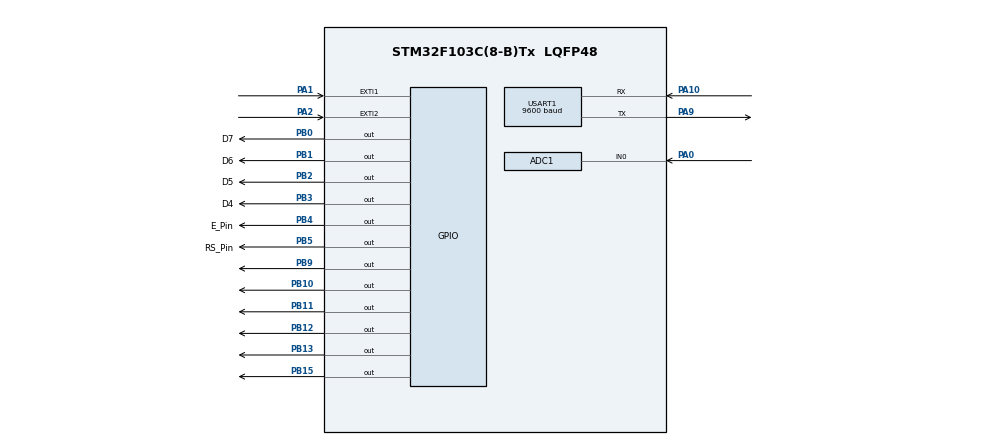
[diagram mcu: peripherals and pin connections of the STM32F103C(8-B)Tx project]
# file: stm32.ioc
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ADC1.Channel-3\#ChannelRegularConversion=ADC_CHANNEL_0
ADC1.ContinuousConvMode=ENABLE
ADC1.NbrOfConversionFlag=1
ADC1.Rank-3\#ChannelRegularConversion=1
ADC1.SamplingTime-3\#ChannelRegularConversion=ADC_SAMPLETIME_1CYCLE_5
ADC1.master=1
Mcu.Family=STM32F1
Mcu.Name=STM32F103C(8-B)Tx
Mcu.Package=LQFP48
NVIC.EXTI1_IRQn=true\:0\:0\:false\:false\:true\:true\:true\:true
NVIC.EXTI2_IRQn=true\:0\:0\:false\:false\:true\:true\:true\:true
NVIC.PriorityGroup=NVIC_PRIORITYGROUP_4
NVIC.TIM2_IRQn=true\:0\:0\:false\:false\:true\:true\:true\:true
NVIC.USART1_IRQn=true\:0\:0\:false\:false\:true\:true\:true\:true
PA0-WKUP.Signal=ADCx_IN0
PA1.Signal=GPXTI1
PA10.Mode=Asynchronous
PA10.Signal=USART1_RX
PA2.Signal=GPXTI2
PA9.Mode=Asynchronous
PA9.Signal=USART1_TX
PB0.GPIO_Label=D7
PB0.Signal=GPIO_Output
PB1.GPIO_Label=D6
PB1.Signal=GPIO_Output
PB10.Signal=GPIO_Output
PB11.Signal=GPIO_Output
PB12.Signal=GPIO_Output
PB13.Signal=GPIO_Output
PB15.Signal=GPIO_Output
PB2.GPIO_Label=D5
PB2.Signal=GPIO_Output
PB3.GPIO_Label=D4
PB3.Signal=GPIO_Output
PB4.GPIO_Label=E_Pin
PB4.Signal=GPIO_Output
PB5.GPIO_Label=RS_Pin
PB5.Signal=GPIO_Output
PB9.Signal=GPIO_Output
ProjectManager.HeapSize=0x200
ProjectManager.StackSize=0x400
ProjectManager.TargetToolchain=STM32CubeIDE
RCC.APB1Freq_Value=8000000
RCC.APB2Freq_Value=8000000
SH.ADCx_IN0.0=ADC1_IN0,IN0
TIM2.AutoReloadPreload=TIM_AUTORELOAD_PRELOAD_ENABLE
TIM2.Period=0
TIM2.Prescaler=8000
USART1.BaudRate=9600
USART1.VirtualMode=VM_ASYNC
VP_SYS_VS_ND.Mode=No_Debug
VP_TIM2_VS_ClockSourceINT.Mode=Internal
board=custom

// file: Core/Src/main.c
/* USER CODE BEGIN Header */
/**
  ******************************************************************************
  * @file           : main.c
  * @brief          : Main program body
  ******************************************************************************
  * @attention
  *
  * Copyright (c) 2024 STMicroelectronics.
  * All rights reserved.
  *
  * This software is licensed under terms that can be found in the LICENSE file
  * in the root directory of this software component.
  * If no LICENSE file comes with this software, it is provided AS-IS.
  *
  ******************************************************************************
  */
/* USER CODE END Header */
#include "main.h"

/* USER CODE BEGIN Includes */
#include "string.h"
#include "stdio.h"
//khai bao chan cam
#define LCD_RS_Pin 		GPIOB,GPIO_PIN_5
#define LCD_E_Pin 		GPIOB,GPIO_PIN_4
#define LCD_D4_Pin 		GPIOB,GPIO_PIN_3
#define LCD_D5_Pin 		GPIOB,GPIO_PIN_2
#define LCD_D6_Pin 		GPIOB,GPIO_PIN_1
#define LCD_D7_Pin 		GPIOB,GPIO_PIN_0

#define LCD_Set_Pin(LCD_Pin) 			HAL_GPIO_WritePin(LCD_Pin,GPIO_PIN_SET)
#define LCD_Reset_Pin(LCD_Pin) 			HAL_GPIO_WritePin(LCD_Pin,GPIO_PIN_RESET)
#define LCD_Write_Pin(LCD_Pin,value) 		HAL_GPIO_WritePin(LCD_Pin,value)
#define LCD_Delay_ms(time)				HAL_Delay(time)
#define LCD_GetBit(value,bit)			((value>>bit) & 1)

#define LCD_Send_cmd(Value)				LCD_Write_8bit(Value,0)
#define LCD_Send_cmd_4bit(Value)		LCD_Write_4bit(Value,0)
#define LCD_Send_data(Value)			LCD_Write_8bit(Value,1)
#define LCD_SetCursor(row,col)			LCD_Send_cmd(0x80+(row*64)+col)
#define LCD_clear()						LCD_Write_8bit(0x01,0)
// Ham gui du lieu 4-bit toi LCD
void LCD_Write_4bit(uint8_t value, uint8_t cmd_data) {
	LCD_Write_Pin(LCD_RS_Pin, cmd_data); // Xac dinh la lenh (0) hay du lieu(1)
	LCD_Set_Pin(LCD_E_Pin);//Kich hoat chan E
	LCD_Delay_ms(1);
	//Gui tung bit toi cac chan D4-D7
	LCD_Write_Pin(LCD_D4_Pin, LCD_GetBit(value,0));
	LCD_Write_Pin(LCD_D5_Pin, LCD_GetBit(value,1));
	LCD_Write_Pin(LCD_D6_Pin, LCD_GetBit(value,2));
	LCD_Write_Pin(LCD_D7_Pin, LCD_GetBit(value,3));
	LCD_Delay_ms(1);
	LCD_Reset_Pin(LCD_E_Pin);//Tat chan E
	LCD_Delay_ms(1);
}
// ham gui du lieu 8-bit toi LCD
void LCD_Write_8bit(uint8_t value, uint8_t cmd_data) {
	LCD_Write_4bit((value >> 4) & 0x0F, cmd_data);//Gui 4-bit cao
	LCD_Write_4bit(value & 0x0F, cmd_data);//Gui 4-bit thap
}

void LCD_Send_string(char *ptr) {
	int i;
	int len;
	len = strlen(ptr); // tinh do dai chuoi
	for (i = 0; i < len; i++) {
		LCD_Write_8bit(ptr[i], 1); // gui tung ky tu len LCD
	}
}
void LCD_init() {
	LCD_Send_cmd_4bit(0x03); //Che do khoi tao LCD
	LCD_Delay_ms(5);
	LCD_Send_cmd_4bit(0x03);
	LCD_Delay_ms(1);
	LCD_Send_cmd_4bit(0x03);
	LCD_Delay_ms(1);
	LCD_Send_cmd_4bit(0x02); // Chuyen ve che do 4-bit
	LCD_Delay_ms(1);
	LCD_Send_cmd(0x28); //4-bit, 2 dong, fort 5x8
	LCD_Delay_ms(1);
	LCD_Send_cmd(0x0C); //Bat hien thi, tat con tro
	LCD_Delay_ms(1);
}
uint32_t adc_val; // Gia tri doc tu ADC
char temp_str[16]; // CHuoi hien thi nhiet do
/* USER CODE END Includes */

ADC_HandleTypeDef hadc1;

TIM_HandleTypeDef htim2;

UART_HandleTypeDef huart1;

/* USER CODE BEGIN PV */
int a = 2;
int b = 3;

    //HAL_UART_Transmit(&huart1, (uint8_t *)str, strlen(str), HAL_MAX_DELAY);

uint32_t Read_ADC_Value(void) {
    uint32_t adcValue = 0;
    HAL_ADC_Start(&hadc1); // Start Chuyen doi ADC
    if (HAL_ADC_PollForConversion(&hadc1, HAL_MAX_DELAY) == HAL_OK) {
        adcValue = HAL_ADC_GetValue(&hadc1); // Lay gia trị ADC
    }
    HAL_ADC_Stop(&hadc1); // Stop ADC
    return adcValue;
}

/* USER CODE END PV */

void SystemClock_Config(void);
static void MX_GPIO_Init(void);
static void MX_ADC1_Init(void);
static void MX_USART1_UART_Init(void);
static void MX_TIM2_Init(void);

/* USER CODE BEGIN 0 */
void HAL_GPIO_EXTI_Callback(uint16_t GPIO_Pin) { //Ham ngat ngoai
	if ( GPIO_Pin == GPIO_PIN_1) { // Nut Start de hoat dong STM32
		 a = 1;
	} else if ( GPIO_Pin == GPIO_PIN_2) { // Nut Stop de Ngat hoat dong STM32
		a = 0;
	}
}

void HAL_TIM_PeriodElapsedCallback(TIM_HandleTypeDef *htim) { // Ham timer
	if ( a == 1) { // start thi den Pin_13 se nhay theo
	UNUSED(htim);
	HAL_GPIO_TogglePin(GPIOB, GPIO_PIN_13);
	}
}

/* USER CODE END 0 */

int main(void)
{

  /* MCU Configuration--------------------------------------------------------*/

  /* Reset of all peripherals, Initializes the Flash interface and the Systick. */
  HAL_Init();

  /* Configure the system clock */
  SystemClock_Config();

  /* Initialize all configured peripherals */
  MX_GPIO_Init();
  MX_ADC1_Init();
  MX_USART1_UART_Init();
  MX_TIM2_Init();
  /* USER CODE BEGIN 2 */
  LCD_init();

  char uartBuf[50];    // Bộ đệm để lưu dữ liệu gửi qua UART
     uint32_t adcValue = 0; // Luu gia tri doc tu ADC
     float voltage = 0.0; // Luu gia tri dien ap
     float temperature = 0.0; // Luu gia tri nhiet do
     HAL_TIM_Base_Start_IT(&htim2); // Start tim2 va Mode ngat
     LCD_init(); //Khoi tao man hinh LCD
     char rx_data; // Luu du lieu nhan tu UART

  /* USER CODE END 2 */

  /* Infinite loop */
  /* USER CODE BEGIN WHILE */
  while (1)
  {
	  if (HAL_UART_Receive(&huart1, (uint8_t*)&rx_data, 1, 1000) == HAL_OK) {
	     		if ( rx_data == '8') { // Start Giao dien
	     			a = 1;
	     		} else if ( rx_data == '9') { //Stop Giao dien
	     			a = 0;
	     		} else if ( rx_data == '0') {
	     			__HAL_TIM_SET_AUTORELOAD(&htim2,499);
	     			__HAL_TIM_SET_COUNTER(&htim2,0);
	     		} else if ( rx_data == '1') {
	     			__HAL_TIM_SET_AUTORELOAD(&htim2,999);
	     			__HAL_TIM_SET_COUNTER(&htim2,0);
	     	} else if ( rx_data == '2') {
     			__HAL_TIM_SET_AUTORELOAD(&htim2,1999);
     			__HAL_TIM_SET_COUNTER(&htim2,0);
	     	}
	  }
	  if ( a == 1 || b == 4) { // Neu gia trị a==1 thi se thoai man dieu kien va kich hoạc trong ngoặc
	  adcValue = Read_ADC_Value(); // doc giá trị ADC
	        voltage = (adcValue * 3.3) / 4095.0; //Dien tu ADC
	        temperature = voltage * 100;        //Nhiet do tu LM35

	        sprintf(uartBuf, "%.2f\r\n", temperature);// dinh dang chuoi nhiet do de hien thi va gui qua UART
	        HAL_UART_Transmit(&huart1, (uint8_t*)uartBuf, strlen(uartBuf),1000);//Gui chuoi qua UART1
	        //Dinh dang chuoi nhiet do cho LCD
	        char lcdBuf[16];
	        sprintf(lcdBuf, "Nhiet Do: %.2f", temperature);
	        LCD_SetCursor(0, 0);
	        LCD_Send_string(lcdBuf);
	        HAL_Delay(1000);
	        if (temperature > 16.0 && temperature < 32.0) { // < 20% (80°C * 0.2)
	            HAL_GPIO_WritePin(GPIOB, GPIO_PIN_9, GPIO_PIN_SET);  // Chỉ PB9 sáng
	            HAL_GPIO_WritePin(GPIOB, GPIO_PIN_10, GPIO_PIN_RESET);
	            HAL_GPIO_WritePin(GPIOB, GPIO_PIN_11, GPIO_PIN_RESET);
	            HAL_GPIO_WritePin(GPIOB, GPIO_PIN_12, GPIO_PIN_RESET);
	            HAL_GPIO_WritePin(GPIOB, GPIO_PIN_15, GPIO_PIN_RESET);
	            LCD_clear();
	            LCD_SetCursor(0,0);
	            LCD_Send_string("Nhiet do tot");
	        } else if (temperature > 32.0 && temperature < 48.0 ) { // 20-40% (80°C * 0.4)
	            HAL_GPIO_WritePin(GPIOB, GPIO_PIN_9, GPIO_PIN_SET);
	            HAL_GPIO_WritePin(GPIOB, GPIO_PIN_10, GPIO_PIN_SET); // PB9, PB10 sáng
	            HAL_GPIO_WritePin(GPIOB, GPIO_PIN_11, GPIO_PIN_RESET);
	            HAL_GPIO_WritePin(GPIOB, GPIO_PIN_12, GPIO_PIN_RESET);
	            HAL_GPIO_WritePin(GPIOB, GPIO_PIN_15, GPIO_PIN_RESET);
	            LCD_clear();
	            LCD_SetCursor(0,0);
	            LCD_Send_string("Nhiet do kha on");
	        } else if (temperature > 48.0 && temperature < 64.0) { // 40-60% (80°C * 0.6)
	            HAL_GPIO_WritePin(GPIOB, GPIO_PIN_9, GPIO_PIN_SET);
	            HAL_GPIO_WritePin(GPIOB, GPIO_PIN_10, GPIO_PIN_SET);
	            HAL_GPIO_WritePin(GPIOB, GPIO_PIN_11, GPIO_PIN_SET); // PB9, PB10, PB11 sáng
	            HAL_GPIO_WritePin(GPIOB, GPIO_PIN_12, GPIO_PIN_RESET);
	            HAL_GPIO_WritePin(GPIOB, GPIO_PIN_15, GPIO_PIN_RESET);
	            LCD_clear();
	            LCD_SetCursor(0,0);
	            LCD_Send_string("Nhiet do bat on");
	        } else if (temperature > 64.0 && temperature < 80.0) { // 60-80% (80°C * 0.8)
	            HAL_GPIO_WritePin(GPIOB, GPIO_PIN_9, GPIO_PIN_SET);
	            HAL_GPIO_WritePin(GPIOB, GPIO_PIN_10, GPIO_PIN_SET);
	            HAL_GPIO_WritePin(GPIOB, GPIO_PIN_11, GPIO_PIN_SET);
	            HAL_GPIO_WritePin(GPIOB, GPIO_PIN_12, GPIO_PIN_SET);
	            HAL_GPIO_WritePin(GPIOB, GPIO_PIN_15, GPIO_PIN_RESET);// Tất cả PB9-PB12 sáng
	            LCD_clear();
	            LCD_SetCursor(0,0);
	            LCD_Send_string("Nhiet do qua muc");
	        } else if (temperature > 80.0) {
	            HAL_GPIO_TogglePin(GPIOB, GPIO_PIN_9); // Tất cả đèn nhấp nháy
	            HAL_GPIO_TogglePin(GPIOB, GPIO_PIN_10);
	            HAL_GPIO_TogglePin(GPIOB, GPIO_PIN_11);
	            HAL_GPIO_TogglePin(GPIOB, GPIO_PIN_12);
	            HAL_GPIO_WritePin(GPIOB, GPIO_PIN_15, GPIO_PIN_SET);
	            LCD_clear();
	            LCD_SetCursor(0,0);
	            LCD_Send_string("Qua Nhietttt!!");
	        }

	        HAL_Delay(500); // Chu kỳ đc ADC
} else if ( a == 0 || b == 5) {
	LCD_clear();//xoa man LCD
	LCD_SetCursor(0,0);
    LCD_Send_string("Stop system");
    HAL_Delay(500);
}
HAL_Delay(500); // Chu kỳ đc ADC

    /* USER CODE END WHILE */

  }
}

void SystemClock_Config(void)
{
  RCC_OscInitTypeDef RCC_OscInitStruct = {0};
  RCC_ClkInitTypeDef RCC_ClkInitStruct = {0};
  RCC_PeriphCLKInitTypeDef PeriphClkInit = {0};

  /** Initializes the RCC Oscillators according to the specified parameters
  * in the RCC_OscInitTypeDef structure.
  */
  RCC_OscInitStruct.OscillatorType = RCC_OSCILLATORTYPE_HSI;
  RCC_OscInitStruct.HSIState = RCC_HSI_ON;
  RCC_OscInitStruct.HSICalibrationValue = RCC_HSICALIBRATION_DEFAULT;
  RCC_OscInitStruct.PLL.PLLState = RCC_PLL_NONE;
  if (HAL_RCC_OscConfig(&RCC_OscInitStruct) != HAL_OK)
  {
    Error_Handler();
  }

  /** Initializes the CPU, AHB and APB buses clocks
  */
  RCC_ClkInitStruct.ClockType = RCC_CLOCKTYPE_HCLK|RCC_CLOCKTYPE_SYSCLK
                              |RCC_CLOCKTYPE_PCLK1|RCC_CLOCKTYPE_PCLK2;
  RCC_ClkInitStruct.SYSCLKSource = RCC_SYSCLKSOURCE_HSI;
  RCC_ClkInitStruct.AHBCLKDivider = RCC_SYSCLK_DIV1;
  RCC_ClkInitStruct.APB1CLKDivider = RCC_HCLK_DIV1;
  RCC_ClkInitStruct.APB2CLKDivider = RCC_HCLK_DIV1;

  if (HAL_RCC_ClockConfig(&RCC_ClkInitStruct, FLASH_LATENCY_0) != HAL_OK)
  {
    Error_Handler();
  }
  PeriphClkInit.PeriphClockSelection = RCC_PERIPHCLK_ADC;
  PeriphClkInit.AdcClockSelection = RCC_ADCPCLK2_DIV2;
  if (HAL_RCCEx_PeriphCLKConfig(&PeriphClkInit) != HAL_OK)
  {
    Error_Handler();
  }
}

static void MX_ADC1_Init(void)
{

  ADC_ChannelConfTypeDef sConfig = {0};

  /** Common config
  */
  hadc1.Instance = ADC1;
  hadc1.Init.ScanConvMode = ADC_SCAN_DISABLE;
  hadc1.Init.ContinuousConvMode = ENABLE;
  hadc1.Init.DiscontinuousConvMode = DISABLE;
  hadc1.Init.ExternalTrigConv = ADC_SOFTWARE_START;
  hadc1.Init.DataAlign = ADC_DATAALIGN_RIGHT;
  hadc1.Init.NbrOfConversion = 1;
  if (HAL_ADC_Init(&hadc1) != HAL_OK)
  {
    Error_Handler();
  }

  /** Configure Regular Channel
  */
  sConfig.Channel = ADC_CHANNEL_0;
  sConfig.Rank = ADC_REGULAR_RANK_1;
  sConfig.SamplingTime = ADC_SAMPLETIME_1CYCLE_5;
  if (HAL_ADC_ConfigChannel(&hadc1, &sConfig) != HAL_OK)
  {
    Error_Handler();
  }

}

static void MX_TIM2_Init(void)
{

  TIM_ClockConfigTypeDef sClockSourceConfig = {0};
  TIM_MasterConfigTypeDef sMasterConfig = {0};

  htim2.Instance = TIM2;
  htim2.Init.Prescaler = 8000;
  htim2.Init.CounterMode = TIM_COUNTERMODE_UP;
  htim2.Init.Period = 0;
  htim2.Init.ClockDivision = TIM_CLOCKDIVISION_DIV1;
  htim2.Init.AutoReloadPreload = TIM_AUTORELOAD_PRELOAD_ENABLE;
  if (HAL_TIM_Base_Init(&htim2) != HAL_OK)
  {
    Error_Handler();
  }
  sClockSourceConfig.ClockSource = TIM_CLOCKSOURCE_INTERNAL;
  if (HAL_TIM_ConfigClockSource(&htim2, &sClockSourceConfig) != HAL_OK)
  {
    Error_Handler();
  }
  sMasterConfig.MasterOutputTrigger = TIM_TRGO_RESET;
  sMasterConfig.MasterSlaveMode = TIM_MASTERSLAVEMODE_DISABLE;
  if (HAL_TIMEx_MasterConfigSynchronization(&htim2, &sMasterConfig) != HAL_OK)
  {
    Error_Handler();
  }

}

static void MX_USART1_UART_Init(void)
{

  huart1.Instance = USART1;
  huart1.Init.BaudRate = 9600;
  huart1.Init.WordLength = UART_WORDLENGTH_8B;
  huart1.Init.StopBits = UART_STOPBITS_1;
  huart1.Init.Parity = UART_PARITY_NONE;
  huart1.Init.Mode = UART_MODE_TX_RX;
  huart1.Init.HwFlowCtl = UART_HWCONTROL_NONE;
  huart1.Init.OverSampling = UART_OVERSAMPLING_16;
  if (HAL_UART_Init(&huart1) != HAL_OK)
  {
    Error_Handler();
  }

}

static void MX_GPIO_Init(void)
{
  GPIO_InitTypeDef GPIO_InitStruct = {0};

  /* GPIO Ports Clock Enable */
  __HAL_RCC_GPIOA_CLK_ENABLE();
  __HAL_RCC_GPIOB_CLK_ENABLE();

  /*Configure GPIO pin Output Level */
  HAL_GPIO_WritePin(GPIOB, D7_Pin|D6_Pin|D5_Pin|GPIO_PIN_10
                          |GPIO_PIN_11|GPIO_PIN_12|GPIO_PIN_13|GPIO_PIN_15
                          |D4_Pin|E_Pin_Pin|RS_Pin_Pin|GPIO_PIN_9, GPIO_PIN_RESET);

  /*Configure GPIO pins : PA1 PA2 */
  GPIO_InitStruct.Pin = GPIO_PIN_1|GPIO_PIN_2;
  GPIO_InitStruct.Mode = GPIO_MODE_IT_RISING;
  GPIO_InitStruct.Pull = GPIO_NOPULL;
  HAL_GPIO_Init(GPIOA, &GPIO_InitStruct);

  /*Configure GPIO pins : D7_Pin D6_Pin D5_Pin PB10
                           PB11 PB12 PB13 PB15
                           D4_Pin E_Pin_Pin RS_Pin_Pin PB9 */
  GPIO_InitStruct.Pin = D7_Pin|D6_Pin|D5_Pin|GPIO_PIN_10
                          |GPIO_PIN_11|GPIO_PIN_12|GPIO_PIN_13|GPIO_PIN_15
                          |D4_Pin|E_Pin_Pin|RS_Pin_Pin|GPIO_PIN_9;
  GPIO_InitStruct.Mode = GPIO_MODE_OUTPUT_PP;
  GPIO_InitStruct.Pull = GPIO_NOPULL;
  GPIO_InitStruct.Speed = GPIO_SPEED_FREQ_LOW;
  HAL_GPIO_Init(GPIOB, &GPIO_InitStruct);

  /* EXTI interrupt init*/
  HAL_NVIC_SetPriority(EXTI1_IRQn, 0, 0);
  HAL_NVIC_EnableIRQ(EXTI1_IRQn);

  HAL_NVIC_SetPriority(EXTI2_IRQn, 0, 0);
  HAL_NVIC_EnableIRQ(EXTI2_IRQn);

}

void Error_Handler(void)
{
  __disable_irq();
  while (1)
  {
  }
}
